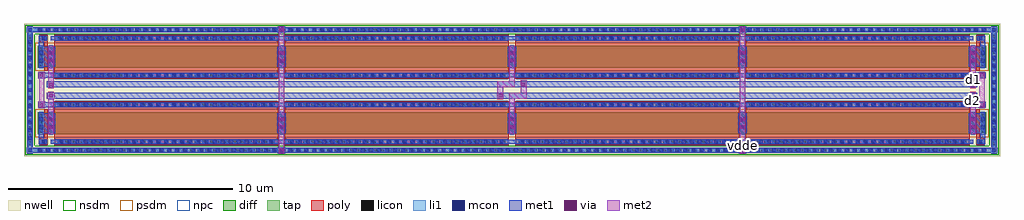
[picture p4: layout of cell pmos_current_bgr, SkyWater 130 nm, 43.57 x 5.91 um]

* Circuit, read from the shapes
.subckt pmos_current_bgr d1 d10 d2 vdde
XM1 d2 d2 d2 vdde sky130_fd_pr__pfet_01v8 w=1 l=0.15 m=2
XM2 d1 d1 d1 vdde sky130_fd_pr__pfet_01v8 w=1 l=0.15 m=2
XM3 vdde d10 d2 vdde sky130_fd_pr__pfet_01v8 w=1 l=10 m=4
XM4 vdde d10 d1 vdde sky130_fd_pr__pfet_01v8 w=1 l=10 m=4
.ends

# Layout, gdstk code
from math import pi, radians
import gdstk
lib = gdstk.Library(unit=1e-6, precision=1e-09)
def R(c, l, rs):  # rectangles x0, y0, x1, y1
    for r in rs: c.add(gdstk.rectangle(r[:2], r[2:], *l))
def A(c, l, x, y, w, h, nx, ny, dx, dy):  # array of equal rectangles
    R(c, l, [(x+i*dx, y+j*dy, x+i*dx+w, y+j*dy+h) for i in range(nx) for j in range(ny)])
nwell = (64, 20)
diff = (65, 20)
tap = (65, 44)
poly = (66, 20)
licon = (66, 44)
li1 = (67, 20)
mcon = (67, 44)
met1 = (68, 20)
via = (68, 44)
met2 = (69, 20)
nsdm = (93, 44)
psdm = (94, 20)
npc = (95, 20)

sky130_fd_pr__pfet_01v8_ = lib.new_cell('sky130_fd_pr__pfet_01v8_PDVD34')
R(sky130_fd_pr__pfet_01v8_, nwell, [(-20.905,-1,20.905,1)])
R(sky130_fd_pr__pfet_01v8_, diff, [(-20.725,-0.5,20.725,0.5)])
A(sky130_fd_pr__pfet_01v8_, poly, -20.435, -0.985, 10, 1.97, 4, 1, 10.29, 0)
A(sky130_fd_pr__pfet_01v8_, licon, -20.28, -0.905, 0.17, 0.17, 29, 2, 0.34, 1.64)
A(sky130_fd_pr__pfet_01v8_, licon, -9.99, -0.905, 0.17, 0.17, 29, 2, 0.34, 1.64)
A(sky130_fd_pr__pfet_01v8_, licon, 0.3, -0.905, 0.17, 0.17, 29, 2, 0.34, 1.64)
A(sky130_fd_pr__pfet_01v8_, licon, 10.59, -0.905, 0.17, 0.17, 29, 2, 0.34, 1.64)
A(sky130_fd_pr__pfet_01v8_, licon, -20.665, -0.425, 0.17, 0.17, 5, 3, 10.29, 0.34)
A(sky130_fd_pr__pfet_01v8_, li1, -20.665, -0.52, 0.17, 1.04, 5, 1, 10.29, 0)
R(sky130_fd_pr__pfet_01v8_, li1, [(-20.58,-0.905,20.58,-0.735), (-20.58,0.735,20.58,0.905)])
A(sky130_fd_pr__pfet_01v8_, mcon, -20.2, -0.905, 0.17, 0.17, 27, 2, 0.36, 1.64)
A(sky130_fd_pr__pfet_01v8_, mcon, -9.91, -0.905, 0.17, 0.17, 27, 2, 0.36, 1.64)
A(sky130_fd_pr__pfet_01v8_, mcon, 0.38, -0.905, 0.17, 0.17, 27, 2, 0.36, 1.64)
A(sky130_fd_pr__pfet_01v8_, mcon, 10.67, -0.905, 0.17, 0.17, 27, 2, 0.36, 1.64)
A(sky130_fd_pr__pfet_01v8_, mcon, -20.665, -0.265, 0.17, 0.17, 5, 2, 10.29, 0.36)
A(sky130_fd_pr__pfet_01v8_, met1, -20.415, -0.935, 9.96, 0.03, 4, 2, 10.29, 0.2)
A(sky130_fd_pr__pfet_01v8_, met1, -20.695, -0.5, 0.23, 1, 5, 1, 10.29, 0)
A(sky130_fd_pr__pfet_01v8_, met1, -20.415, 0.705, 9.96, 0.03, 4, 2, 10.29, 0.2)
R(sky130_fd_pr__pfet_01v8_, met1, [(-20.58,-0.905,20.58,-0.735), (-20.58,0.735,20.58,0.905)])
R(sky130_fd_pr__pfet_01v8_, psdm, [(-20.85,-0.625,20.85,0.625)])
A(sky130_fd_pr__pfet_01v8_, npc, -20.38, -1.005, 9.89, 0.37, 4, 2, 10.29, 1.64)
sky130_fd_pr__pfet_01v8_.add(gdstk.Label('D0', (-20.58,0), layer=67, texttype=5))
sky130_fd_pr__pfet_01v8_.add(gdstk.Label('G', (15.435,0.82), layer=67, texttype=5))
sky130_fd_pr__pfet_01v8_.add(gdstk.Label('G', (5.145,0.82), layer=67, texttype=5))
sky130_fd_pr__pfet_01v8_.add(gdstk.Label('G', (-5.145,0.82), layer=67, texttype=5))
sky130_fd_pr__pfet_01v8_.add(gdstk.Label('G', (-15.435,0.82), layer=67, texttype=5))
sky130_fd_pr__pfet_01v8_.add(gdstk.Label('S1', (-10.29,0), layer=67, texttype=5))
sky130_fd_pr__pfet_01v8_.add(gdstk.Label('D2', (0,0), layer=67, texttype=5))
sky130_fd_pr__pfet_01v8_.add(gdstk.Label('S3', (10.29,0), layer=67, texttype=5))

c_sky130_fd_pr__pfet_01v8_ = lib.new_cell('sky130_fd_pr__pfet_01v8_P4G5X4')
R(c_sky130_fd_pr__pfet_01v8_, nwell, [(-0.545,-0.81,0.545,0.81)])
R(c_sky130_fd_pr__pfet_01v8_, diff, [(-0.365,-0.5,0.365,0.5)])
R(c_sky130_fd_pr__pfet_01v8_, poly, [(-0.075,-0.63,0.075,0.63)])
A(c_sky130_fd_pr__pfet_01v8_, licon, -0.305, -0.425, 0.17, 0.17, 1, 3, 0, 0.34)
A(c_sky130_fd_pr__pfet_01v8_, licon, 0.135, -0.425, 0.17, 0.17, 1, 3, 0, 0.34)
R(c_sky130_fd_pr__pfet_01v8_, li1, [(-0.305,-0.52,-0.135,0.52), (0.135,-0.52,0.305,0.52)])
R(c_sky130_fd_pr__pfet_01v8_, mcon, [(-0.305,-0.265,-0.135,-0.095), (0.135,-0.265,0.305,-0.095), (-0.305,0.095,-0.135,0.265), (0.135,0.095,0.305,0.265)])
R(c_sky130_fd_pr__pfet_01v8_, met1, [(-0.335,-0.5,-0.105,0.5), (0.105,-0.5,0.335,0.5)])
R(c_sky130_fd_pr__pfet_01v8_, psdm, [(-0.49,-0.625,0.49,0.625)])
c_sky130_fd_pr__pfet_01v8_.add(gdstk.Label('D', (-0.22,0), layer=67, texttype=5))
c_sky130_fd_pr__pfet_01v8_.add(gdstk.Label('S', (0.22,0), layer=67, texttype=5))

pmos_current_bgr = lib.new_cell('pmos_current_bgr')
R(pmos_current_bgr, nwell, [(-1.135,-3.38,42.435,2.53)])
R(pmos_current_bgr, tap, [(-0.955,-3.2,42.255,-3.03), (-0.955,-3.03,-0.785,2.18), (42.085,-3.03,42.255,2.18), (-0.955,2.18,42.255,2.35)])
R(pmos_current_bgr, poly, [(-0.43,-2.895,-0.075,-2.565), (41.375,-2.895,41.73,-2.565), (-0.225,-2.565,-0.075,-2.445), (41.375,-2.565,41.525,-2.455), (-0.225,1.56,-0.075,1.715), (41.375,1.56,41.525,1.715), (-0.43,1.715,-0.075,2.045), (41.375,1.715,41.73,2.045)])
A(pmos_current_bgr, licon, -0.515, -3.2, 0.17, 0.17, 125, 2, 0.34, 5.38)
A(pmos_current_bgr, licon, -0.955, -2.89, 0.17, 0.17, 1, 15, 0, 0.34)
A(pmos_current_bgr, licon, 42.085, -2.89, 0.17, 0.17, 1, 15, 0, 0.34)
R(pmos_current_bgr, licon, [(-0.35,-2.815,-0.18,-2.645), (41.48,-2.815,41.65,-2.645), (-0.35,1.795,-0.18,1.965), (41.48,1.795,41.65,1.965)])
R(pmos_current_bgr, li1, [(-0.955,-3.2,42.255,-3.03), (-0.955,-3.03,-0.785,2.18), (42.085,-3.03,42.255,2.18), (-0.43,-2.815,-0.1,-2.645), (41.4,-2.815,41.73,-2.645), (-0.43,1.795,-0.1,1.965), (41.4,1.795,41.73,1.965), (-0.955,2.18,42.255,2.35)])
A(pmos_current_bgr, mcon, -0.495, -3.2, 0.17, 0.17, 118, 2, 0.36, 5.38)
A(pmos_current_bgr, mcon, -0.955, -2.67, 0.17, 0.17, 1, 13, 0, 0.36)
A(pmos_current_bgr, mcon, 42.085, -2.67, 0.17, 0.17, 1, 13, 0, 0.36)
R(pmos_current_bgr, mcon, [(-0.955,-3.2,-0.785,-3.03), (42.085,-3.2,42.255,-3.03), (-0.35,-2.815,-0.18,-2.645), (41.48,-2.815,41.65,-2.645), (-0.35,1.795,-0.18,1.965), (41.48,1.795,41.65,1.965), (-0.955,2.18,-0.785,2.35), (42.085,2.18,42.255,2.35)])
A(pmos_current_bgr, met1, 10.18, -2.35, 0.36, 0.88, 3, 2, 10.29, 2.97)
R(pmos_current_bgr, met1, [(-0.985,-3.26,-0.755,-3.23), (42.055,-3.26,42.285,-3.23), (10.2,-3.245,10.52,-3.23), (30.78,-3.245,31.1,-3.23), (-1.015,-3.23,42.315,-3), (-0.985,-3,-0.755,2.15), (10.2,-3,10.52,-2.985), (30.78,-3,31.1,-2.985), (42.055,-3,42.285,2.15), (-0.485,-2.845,-0.12,-2.615), (41.42,-2.845,41.785,-2.615), (-0.485,-2.615,-0.255,-2.35), (41.555,-2.615,41.785,-2.35), (-0.485,-2.35,0.25,-2.24), (41.05,-2.35,41.785,-1.47), (-0.445,-2.24,0.25,-1.47), (-0.505,-1.22,-0.185,-1.205), (41.47,-1.22,41.79,-1.205), (-0.505,-1.205,0.46,-0.975), (41.02,-1.205,41.79,-0.975), (-0.505,-0.975,-0.185,-0.96), (41.47,-0.975,41.79,-0.96), (-0.06,-0.835,0.2,-0.805), (-0.11,-0.805,41.41,-0.545), (-0.06,-0.545,0.2,-0.515), (-0.11,-0.305,41.41,-0.045), (-0.505,0.11,-0.185,0.125), (41.47,0.11,41.79,0.125), (-0.505,0.125,0.38,0.355), (40.925,0.125,41.79,0.355), (-0.505,0.355,-0.185,0.37), (41.47,0.355,41.79,0.37), (-0.415,0.62,0.25,1.475), (41.05,0.62,41.735,1.43), (41.05,1.43,41.785,1.5), (-0.485,1.475,0.25,1.5), (-0.485,1.5,-0.255,1.765), (41.555,1.5,41.785,1.765), (-0.485,1.765,-0.12,1.995), (41.42,1.765,41.785,1.995), (10.2,2.135,10.52,2.15), (30.78,2.135,31.1,2.15), (-1.015,2.15,42.315,2.38), (-0.985,2.38,-0.755,2.41), (10.2,2.38,10.52,2.395), (30.78,2.38,31.1,2.395), (42.055,2.38,42.285,2.41)])
A(pmos_current_bgr, via, -0.005, -2.145, 0.15, 0.15, 5, 2, 10.29, 0.32)
A(pmos_current_bgr, via, -0.005, 0.825, 0.15, 0.15, 5, 2, 10.29, 0.32)
R(pmos_current_bgr, via, [(10.285,-3.19,10.435,-3.04), (30.865,-3.19,31.015,-3.04), (-0.42,-1.165,-0.27,-1.015), (41.555,-1.165,41.705,-1.015), (-0.005,-0.75,0.145,-0.6), (20.055,-0.75,20.205,-0.6), (41.155,-0.75,41.305,-0.6), (-0.005,-0.25,0.145,-0.1), (21.095,-0.25,21.245,-0.1), (41.155,-0.25,41.305,-0.1), (-0.42,0.165,-0.27,0.315), (41.555,0.165,41.705,0.315), (10.285,2.19,10.435,2.34), (30.865,2.19,31.015,2.34)])
R(pmos_current_bgr, met2, [(10.23,-3.275,10.49,2.425), (30.81,-3.275,31.07,2.425), (-0.06,-2.4,0.2,-0.805), (20.52,-2.4,20.78,-0.805), (41.1,-2.4,41.36,-0.495), (-0.475,-1.25,-0.215,-0.93), (41.5,-1.25,41.76,-0.93), (-0.46,-0.93,-0.23,0.08), (41.515,-0.93,41.745,0.08), (20,-0.835,20.26,-0.305), (-0.09,-0.805,0.23,-0.545), (20.52,-0.805,21.3,-0.545), (-0.06,-0.545,0.2,-0.495), (21.04,-0.545,21.3,0.015), (-0.06,-0.355,0.2,1.55), (41.1,-0.355,41.36,1.55), (20,-0.305,20.78,-0.045), (20.52,-0.045,20.78,1.55), (-0.475,0.08,-0.215,0.4), (41.5,0.08,41.76,0.4)])
R(pmos_current_bgr, nsdm, [(-1.08,-3.325,42.38,-2.905), (-1.08,-2.905,-0.66,2.055), (41.96,-2.905,42.38,2.055), (-1.08,2.055,42.38,2.475)])
R(pmos_current_bgr, npc, [(-0.45,-2.915,-0.08,-2.545), (41.38,-2.915,41.75,-2.545), (-0.45,1.695,-0.08,2.065), (41.38,1.695,41.75,2.065)])
pmos_current_bgr.add(gdstk.Reference(sky130_fd_pr__pfet_01v8_, (20.65,-1.91)))
pmos_current_bgr.add(gdstk.Reference(sky130_fd_pr__pfet_01v8_, (20.65,1.06)))
pmos_current_bgr.add(gdstk.Reference(c_sky130_fd_pr__pfet_01v8_, (41.45,1.06), rotation=pi))
pmos_current_bgr.add(gdstk.Reference(c_sky130_fd_pr__pfet_01v8_, (41.45,-1.91), rotation=pi))
pmos_current_bgr.add(gdstk.Reference(c_sky130_fd_pr__pfet_01v8_, (-0.15,-1.91), rotation=pi))
pmos_current_bgr.add(gdstk.Reference(c_sky130_fd_pr__pfet_01v8_, (-0.15,1.06), rotation=pi))
pmos_current_bgr.add(gdstk.Label('d1', (41.27,0.045), layer=69, texttype=5))
pmos_current_bgr.add(gdstk.Label('d10', (41.645,-0.485), layer=69, texttype=5))
pmos_current_bgr.add(gdstk.Label('vdde', (30.925,-2.9), layer=69, texttype=5))
pmos_current_bgr.add(gdstk.Label('d2', (41.22,-0.9), layer=69, texttype=5))

lib.write_gds('pmos_current_bgr.gds')
